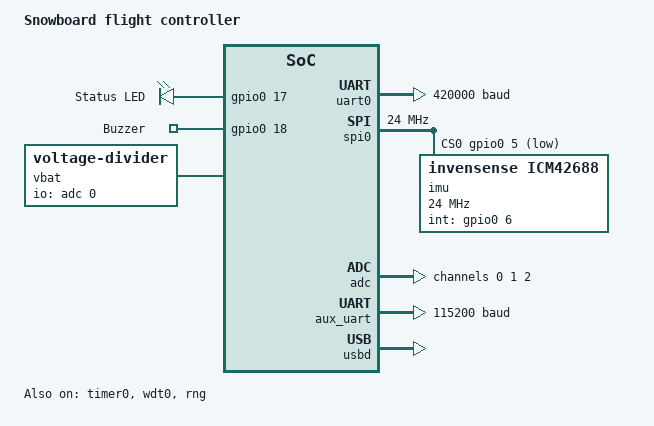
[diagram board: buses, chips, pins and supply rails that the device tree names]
/*
 * Snowboard Rev 3 board-level devicetree.
 * Source: hardware/docs/pinmap.md, SNB-HW-001.
 *
 * TODO: flash partitions and retained RAM (RFC 0002 sections 8 and 9.4).
 * TODO: DShot on &pio0 once the custom binding exists.
 * TODO: CRSF receiver node on &uart0 once the driver exists.
 *
 * SPDX-License-Identifier: Apache-2.0
 */

#include <freq.h>

#include <zephyr/dt-bindings/adc/adc.h>
#include <zephyr/dt-bindings/i2c/i2c.h>
#include <zephyr/dt-bindings/led/led.h>
#include <zephyr/dt-bindings/sensor/icm42688.h>

#include "snowboard-pinctrl.dtsi"

/ {
	model = "Snowboard flight controller";
	compatible = "snowboard,snowboard-fc";

	chosen {
		zephyr,sram = &sram0;
		zephyr,flash = &flash0;
		zephyr,flash-controller = &qmi;
	};

	aliases {
		led0 = &status_led;
		led-strip = &rgb_led;
		buzzer = &buzzer;
		watchdog0 = &wdt0;
	};

	leds {
		compatible = "gpio-leds";

		/* D2, blue, through 1 kOhm */
		status_led: status_led {
			gpios = <&gpio0 17 GPIO_ACTIVE_HIGH>;
			label = "Status LED";
		};
	};

	buzzer {
		compatible = "gpio-leds";

		/* Low-side driver Q1; BZ+ on 5 V */
		buzzer: buzzer {
			gpios = <&gpio0 18 GPIO_ACTIVE_HIGH>;
			label = "Buzzer";
		};
	};

	/* VBAT = J1 pin 2 through R21 100k / R22 10k (divide by 11) */
	vbat: vbat {
		compatible = "voltage-divider";
		io-channels = <&adc 0>;
		output-ohms = <10000>;
		full-ohms = <110000>;
	};
};

/* W25Q32JVSNIQ, 4 MB. */
&flash0 {
	reg = <0x10000000 DT_SIZE_M(4)>;
};

/* CRSF receiver on J3 */
&uart0 {
	current-speed = <420000>;
	status = "okay";
	pinctrl-0 = <&uart0_default>;
	pinctrl-names = "default";
};

&gpio0 {
	status = "okay";
};

&spi0 {
	pinctrl-0 = <&spi0_default>;
	pinctrl-names = "default";
	clock-frequency = <DT_FREQ_M(24)>;
	cs-gpios = <&gpio0 5 GPIO_ACTIVE_LOW>;
	status = "okay";

	imu: icm42688@0 {
		compatible = "invensense,icm42688", "invensense,icm4268x";
		reg = <0>;
		spi-max-frequency = <DT_FREQ_M(24)>;
		/* INT1: push-pull, no pull-up on the board; driver default is active high */
		int-gpios = <&gpio0 6 GPIO_ACTIVE_HIGH>;
		gyro-pwr-mode = <ICM42688_DT_GYRO_LN>;
		gyro-fs = <ICM42688_DT_GYRO_FS_2000>;
		gyro-odr = <ICM42688_DT_GYRO_ODR_8000>;
		accel-pwr-mode = <ICM42688_DT_ACCEL_LN>;
		accel-fs = <ICM42688_DT_ACCEL_FS_16>;
		accel-odr = <ICM42688_DT_ACCEL_ODR_8000>;
	};
};

/* Aux I2C pads (JP2), nothing fitted */
&i2c1 {
	clock-frequency = <I2C_BITRATE_STANDARD>;
	pinctrl-0 = <&i2c1_default>;
	pinctrl-names = "default";
	status = "disabled";
};

&adc {
	pinctrl-0 = <&adc_default>;
	pinctrl-names = "default";
	#address-cells = <1>;
	#size-cells = <0>;
	status = "okay";

	/* VBAT_SENSE, GPIO26 */
	channel@0 {
		reg = <0>;
		zephyr,gain = "ADC_GAIN_1";
		zephyr,reference = "ADC_REF_INTERNAL";
		zephyr,acquisition-time = <ADC_ACQ_TIME_DEFAULT>;
		zephyr,resolution = <12>;
	};

	/* CUR_SENSE, GPIO27; ESC output 40 mV/A */
	channel@1 {
		reg = <1>;
		zephyr,gain = "ADC_GAIN_1";
		zephyr,reference = "ADC_REF_INTERNAL";
		zephyr,acquisition-time = <ADC_ACQ_TIME_DEFAULT>;
		zephyr,resolution = <12>;
	};

	/* RSSI pad, GPIO28 */
	channel@2 {
		reg = <2>;
		zephyr,gain = "ADC_GAIN_1";
		zephyr,reference = "ADC_REF_INTERNAL";
		zephyr,acquisition-time = <ADC_ACQ_TIME_DEFAULT>;
		zephyr,resolution = <12>;
	};
};

/* PIO0: DShot M1-M4 (GPIO8-11). Enabled with the DShot node. */
&pio0 {
	status = "disabled";
};

/* PIO1: RGB LED D4 via the 74AHCT1G125 level shifter */
&pio1 {
	status = "okay";

	pio-ws2812 {
		compatible = "worldsemi,ws2812-rpi_pico-pio";
		pinctrl-0 = <&pio1_default>;
		pinctrl-names = "default";
		bit-waveform = <3>, <3>, <4>;

		rgb_led: ws2812 {
			gpios = <&gpio0 16 GPIO_ACTIVE_HIGH>;
			chain-length = <1>;
			color-mapping = <LED_COLOR_ID_GREEN LED_COLOR_ID_RED LED_COLOR_ID_BLUE>;
			reset-delay = <300>;
			frequency = <800000>;
		};
	};
};

/* PIO2: aux UART on JP1 (GPIO12/13 have no free hardware UART) */
&pio2 {
	status = "okay";

	aux_uart: uart-aux {
		compatible = "raspberrypi,pico-uart-pio";
		pinctrl-0 = <&pio2_uart_aux_default>;
		pinctrl-names = "default";
		current-speed = <115200>;
	};
};

&timer0 {
	status = "okay";
};

&wdt0 {
	status = "okay";
};

&rng {
	status = "okay";
};

zephyr_udc0: &usbd {
	status = "okay";
};
